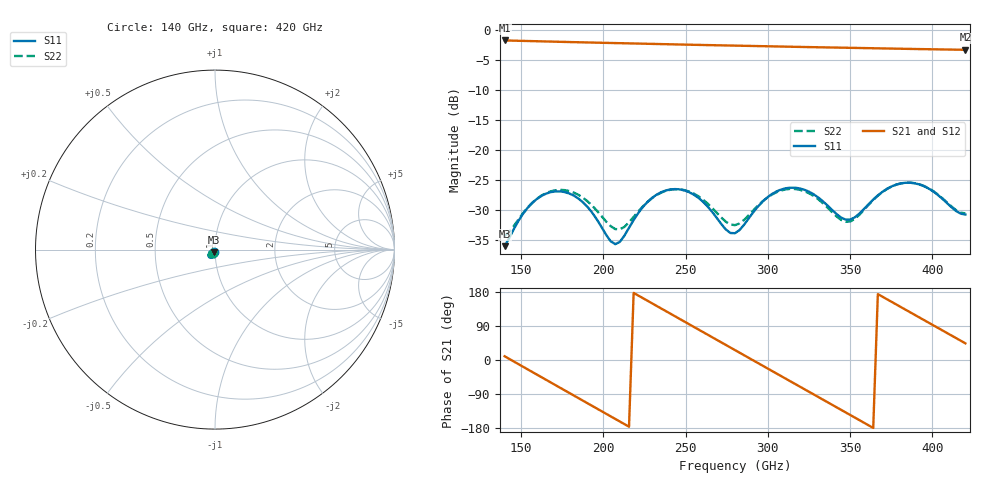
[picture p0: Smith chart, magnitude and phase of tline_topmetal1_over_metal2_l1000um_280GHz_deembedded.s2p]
! Created with skrf 2.2.0 (http://scikit-rf.org).
# GHz S DB R 50.0
! Port[1] = P1
! Port[2] = P2
!freq dBS11 angS11 dBS21 angS21 dBS12 angS12 dBS22 angS22
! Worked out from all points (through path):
!   101 points, 140 GHz to 420 GHz, reference 50 ohm
!   highest |S21| = -1.78 dB at 140 GHz (marker M1); lowest = -3.3 dB at 420 GHz (marker M2)
!   group delay of S21, straight-line fit = 6.8 ps
!   lowest |S11| = -36.1 dB at 140 GHz (marker M3), VSWR 1.03, Z = 49.5 - j1.48 ohm
!   |S11| at or under -10 dB: start of sweep to end of sweep
!   |S22| runs from -34.4 to -25.5 dB; largest |S21 - S12| = 8.6e-14
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140  -36.07 -108.5  -1.78 9.9  -1.78 9.9  -34.36 -121.8
154  -29.67 -98.8  -1.87 -24.6  -1.87 -24.6  -29.64 -105.1
168  -27.07 -119.9  -1.96 -59.1  -1.96 -59.1  -26.93 -121.4
179.2  -27.28 -138.8  -2.04 -86.7  -2.04 -86.7  -26.87 -138.0
187.6  -28.75 -150.9  -2.09 -107.3  -2.09 -107.3  -27.99 -148.5
207.2  -35.74 -129.2  -2.21 -155.4  -2.21 -155.4  -33.22 -137.2
221.2  -30.55 -99.8  -2.30 170.2  -2.30 170.2  -30.30 -111.1
235.2  -27.07 -114.8  -2.38 135.8  -2.38 135.8  -27.14 -120.6
246.4  -26.61 -131.8  -2.45 108.4  -2.45 108.4  -26.59 -135.0
257.6  -27.98 -146.8  -2.51 81.0  -2.51 81.0  -27.73 -147.9
280  -33.91 -123.2  -2.64 26.1  -2.64 26.1  -32.57 -130.4
291.2  -30.38 -102.7  -2.70 -1.3  -2.70 -1.3  -30.08 -112.3
302.4  -27.39 -109.4  -2.76 -28.7  -2.76 -28.7  -27.47 -116.6
316.4  -26.32 -127.1  -2.84 -62.9  -2.84 -62.9  -26.54 -132.3
327.6  -27.39 -139.5  -2.89 -90.3  -2.89 -90.3  -27.66 -143.7
338.8  -29.98 -141.6  -2.95 -117.7  -2.95 -117.7  -30.34 -144.6
352.8  -31.27 -115.0  -3.02 -151.9  -3.02 -151.9  -31.53 -115.6
364  -28.30 -105.4  -3.07 -179.3  -3.07 -179.3  -28.38 -105.8
375.2  -26.10 -113.3  -3.13 153.4  -3.13 153.4  -26.13 -113.6
397.6  -26.45 -138.5  -3.24 98.7  -3.24 98.7  -26.41 -138.0
408.8  -28.88 -141.6  -3.29 71.3  -3.29 71.3  -28.77 -140.5
420  -30.79 -123.7  -3.33 44.0  -3.33 44.0  -30.61 -122.5
